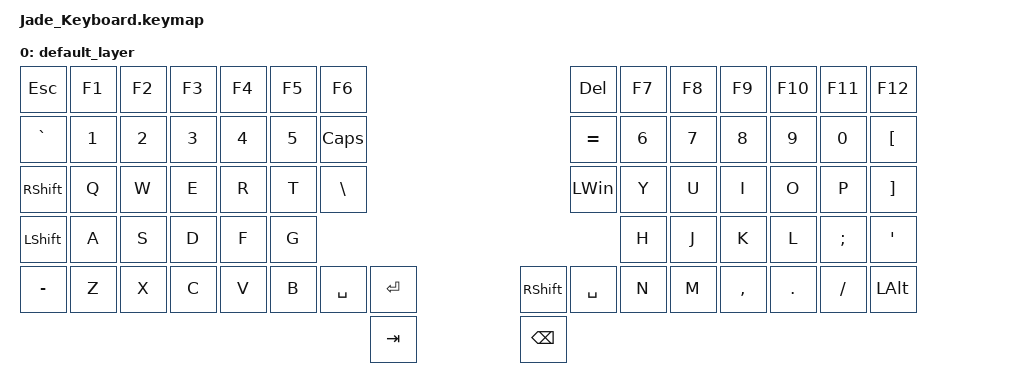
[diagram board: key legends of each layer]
#include <behaviors.dtsi>
#include <dt-bindings/zmk/keys.h>
#include <dt-bindings/zmk/bt.h>

/ {
    keymap {
        compatible = "zmk,keymap";

        default_layer {
            // ---------------------------------------------------------------------------------------------------------------------------------
            // |  ESC   |  F1 |  F2 |  F3  |  F4  |  F5  |  F6  |                                 |  DEL   |  F7   |  F8  |   F9  |  F10 |  F11  |  F12  |
            // |  `    |  1  |  2  |  3   |  4   |  5   |  CAPS  |                                |  EQUAL  |  6   |   7   |   8   |  9   |   0   |   [  |
            // |  RSHIFT  |  Q  |  W  |  E   |  R   |  T   |  \  |                              |   WIN    |  Y   |   U   |   I   |  O   |   P   |   ]  |
            // |  LSHIFT  |  A  |  S  |  D   |  F   |  G   |                                                 |  H   |   J   |   K   |  L   |   ;   |   '  |
            // |   - |  Z  |  X  |  C   |  V   |  B   | SPACE | ENTER |       | |           |RSHIFT  | SPACE |  N   |   M   |   ,   |  .   |   /   | ALT |
            //                                        | TAB  |                | |                    |  BACK |
            //

            bindings = <
            &kp ESC        &kp F1   &kp F2      &kp F3      &kp F4     &kp F5  &kp F6                                                   &kp DEL  &kp F7  &kp F8  &kp F9      &kp F10     &kp F11     &kp F12
            &kp GRAVE      &kp N1   &kp N2      &kp N3      &kp N4     &kp N5  &kp CAPS                                                &kp EQUAL &kp N6  &kp N7  &kp N8      &kp N9      &kp N0      &kp LBKT
            &kp RSHIFT     &kp Q    &kp W       &kp E       &kp R      &kp T   &kp BSLH                                                &kp LWIN  &kp Y   &kp U   &kp I       &kp O       &kp P       &kp RBKT
            &kp LSHIFT     &kp A    &kp S       &kp D       &kp F      &kp G                                                                     &kp H   &kp J   &kp K       &kp L       &kp SEMI    &kp SQT
            &kp MINUS      &kp Z    &kp X       &kp C       &kp V      &kp B   &kp SPACE   &kp ENTER                        &kp RSHIFT &kp SPACE  &kp N   &kp M   &kp COMMA   &kp DOT     &kp FSLH    &kp LALT
                                                                                           &kp TAB                          &kp BSPC   
            >;
        };
    };
};
